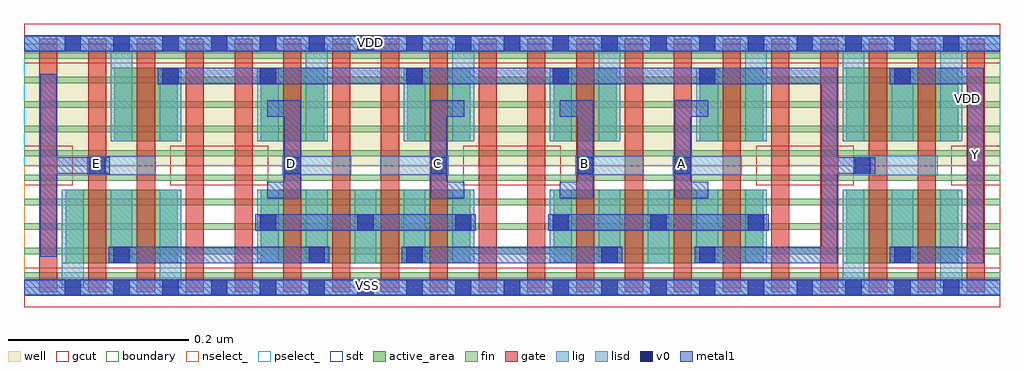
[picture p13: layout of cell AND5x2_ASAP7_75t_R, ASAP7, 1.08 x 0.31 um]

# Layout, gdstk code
import gdstk
lib = gdstk.Library(unit=1e-6, precision=2.5e-10)
def R(c, l, rs):  # rectangles x0, y0, x1, y1
    for r in rs: c.add(gdstk.rectangle(r[:2], r[2:], *l))
def A(c, l, x, y, w, h, nx, ny, dx, dy):  # array of equal rectangles
    R(c, l, [(x+i*dx, y+j*dy, x+i*dx+w, y+j*dy+h) for i in range(nx) for j in range(ny)])
def P(c, l, *ps):  # polygons
    for p in ps: c.add(gdstk.Polygon(p, *l))
well = (1, 0)
fin = (2, 0)
gate = (7, 0)
gcut = (10, 0)
active_area = (11, 0)
nselect_ = (12, 0)
pselect_ = (13, 0)
lig = (16, 0)
lisd = (17, 0)
v0 = (18, 0)
metal1 = (19, 0)
sdt = (88, 0)
boundary = (100, 0)

and5x2_asap7_75t_r = lib.new_cell('AND5x2_ASAP7_75t_R')
R(and5x2_asap7_75t_r, well, [(0,0.135,1.08,0.27)])
A(and5x2_asap7_75t_r, fin, 0, 0.01, 1.08, 0.007, 1, 10, 0, 0.027)
A(and5x2_asap7_75t_r, gate, 0.017, -0.005, 0.02, 0.28, 20, 1, 0.054, 0)
A(and5x2_asap7_75t_r, gcut, 0.162, 0.113, 0.108, 0.044, 3, 1, 0.324, 0)
R(and5x2_asap7_75t_r, gcut, [(0,-0.022,1.08,0.022), (0,0.113,0.054,0.157), (1.026,0.113,1.08,0.157), (0,0.248,1.08,0.292)])
A(and5x2_asap7_75t_r, active_area, 0.1, 0.162, 0.07, 0.081, 5, 1, 0.162, 0)
R(and5x2_asap7_75t_r, active_area, [(0.046,0.027,0.17,0.108), (0.262,0.027,0.494,0.108), (0.586,0.027,0.818,0.108), (0.91,0.027,1.034,0.108), (0.91,0.162,1.034,0.243)])
R(and5x2_asap7_75t_r, nselect_, [(0,0,1.08,0.135)])
R(and5x2_asap7_75t_r, pselect_, [(0,0.135,1.08,0.27)])
R(and5x2_asap7_75t_r, lig, [(0,-0.008,1.08,0.008), (0.918,0.124,1.011,0.146), (0.07,0.125,0.146,0.145), (0.286,0.125,0.362,0.145), (0.394,0.125,0.47,0.145), (0.61,0.125,0.686,0.145), (0.718,0.125,0.794,0.145), (0,0.262,1.08,0.278)])
A(and5x2_asap7_75t_r, lisd, 0.258, 0.027, 0.024, 0.081, 5, 1, 0.054, 0)
A(and5x2_asap7_75t_r, lisd, 0.582, 0.027, 0.024, 0.081, 5, 1, 0.054, 0)
A(and5x2_asap7_75t_r, lisd, 0.258, 0.162, 0.024, 0.081, 4, 1, 0.162, 0)
A(and5x2_asap7_75t_r, lisd, 0.312, 0.162, 0.024, 0.108, 4, 1, 0.162, 0)
R(and5x2_asap7_75t_r, lisd, [(0.042,0,0.066,0.108), (0.15,0,0.174,0.108), (0.906,0,0.93,0.108), (1.014,0,1.038,0.108), (0.096,0.027,0.12,0.108), (0.96,0.027,0.984,0.108), (0.096,0.162,0.12,0.27), (0.15,0.162,0.174,0.243), (0.906,0.162,0.93,0.27), (0.96,0.162,0.984,0.243), (1.014,0.162,1.038,0.27)])
A(and5x2_asap7_75t_r, v0, 0.045, -0.009, 0.018, 0.018, 19, 2, 0.054, 0.27)
A(and5x2_asap7_75t_r, v0, 0.261, 0.063, 0.018, 0.018, 6, 1, 0.108, 0)
A(and5x2_asap7_75t_r, v0, 0.288, 0.126, 0.018, 0.018, 3, 1, 0.162, 0)
A(and5x2_asap7_75t_r, v0, 0.261, 0.225, 0.018, 0.018, 4, 1, 0.162, 0)
R(and5x2_asap7_75t_r, v0, [(0.099,0.027,0.117,0.045), (0.315,0.027,0.333,0.045), (0.423,0.027,0.441,0.045), (0.639,0.027,0.657,0.045), (0.747,0.027,0.765,0.045), (0.963,0.027,0.981,0.045), (0.072,0.126,0.09,0.144), (0.72,0.126,0.738,0.144), (0.919,0.126,0.937,0.144), (0.153,0.225,0.171,0.243), (0.963,0.225,0.981,0.243)])
R(and5x2_asap7_75t_r, metal1, [(0,-0.009,1.08,0.009), (0.094,0.027,0.338,0.045), (0.418,0.027,0.662,0.045), (0.256,0.063,0.5,0.081), (0.58,0.063,0.824,0.081), (0,0.261,1.08,0.279)])
P(and5x2_asap7_75t_r, metal1, [(0.095,0.144),(0.036,0.144),(0.036,0.236),(0.018,0.236),(0.018,0.034),(0.036,0.034),(0.036,0.126),(0.095,0.126)],
  [(0.306,0.207),(0.269,0.207),(0.269,0.189),(0.288,0.189),(0.288,0.117),(0.269,0.117),(0.269,0.099),(0.306,0.099)],
  [(0.487,0.117),(0.468,0.117),(0.468,0.189),(0.487,0.189),(0.487,0.207),(0.45,0.207),(0.45,0.099),(0.487,0.099)],
  [(0.63,0.207),(0.593,0.207),(0.593,0.189),(0.612,0.189),(0.612,0.117),(0.593,0.117),(0.593,0.099),(0.63,0.099)],
  [(0.757,0.117),(0.738,0.117),(0.738,0.189),(0.757,0.189),(0.757,0.207),(0.72,0.207),(0.72,0.099),(0.757,0.099)],
  [(0.942,0.144),(0.9,0.144),(0.9,0.243),(0.148,0.243),(0.148,0.225),(0.882,0.225),(0.882,0.045),(0.742,0.045),(0.742,0.027),(0.9,0.027),(0.9,0.126),(0.942,0.126)],
  [(1.062,0.243),(0.958,0.243),(0.958,0.225),(1.044,0.225),(1.044,0.045),(0.958,0.045),(0.958,0.027),(1.062,0.027)])
A(and5x2_asap7_75t_r, sdt, 0.042, 0.027, 0.024, 0.081, 3, 1, 0.054, 0)
A(and5x2_asap7_75t_r, sdt, 0.258, 0.027, 0.024, 0.081, 5, 1, 0.054, 0)
A(and5x2_asap7_75t_r, sdt, 0.582, 0.027, 0.024, 0.081, 5, 1, 0.054, 0)
A(and5x2_asap7_75t_r, sdt, 0.906, 0.027, 0.024, 0.081, 3, 2, 0.054, 0.135)
R(and5x2_asap7_75t_r, sdt, [(0.096,0.162,0.12,0.243), (0.15,0.162,0.174,0.243), (0.258,0.162,0.282,0.243), (0.312,0.162,0.336,0.243), (0.42,0.162,0.444,0.243), (0.474,0.162,0.498,0.243), (0.582,0.162,0.606,0.243), (0.636,0.162,0.66,0.243), (0.744,0.162,0.768,0.243), (0.798,0.162,0.822,0.243)])
R(and5x2_asap7_75t_r, boundary, [(0,0,1.08,0.27)])
and5x2_asap7_75t_r.add(gdstk.Label('VSS', (1.113,0.208), layer=3, texttype=251))
and5x2_asap7_75t_r.add(gdstk.Label('VDD', (1.044,0.209), layer=1, texttype=251))
and5x2_asap7_75t_r.add(gdstk.Label('C', (0.458,0.137), layer=19, texttype=251))
and5x2_asap7_75t_r.add(gdstk.Label('D', (0.296,0.137), layer=19, texttype=251))
and5x2_asap7_75t_r.add(gdstk.Label('E', (0.08,0.137), layer=19, texttype=251))
and5x2_asap7_75t_r.add(gdstk.Label('VSS', (0.38,0.002), layer=19, texttype=251))
and5x2_asap7_75t_r.add(gdstk.Label('VDD', (0.383,0.271), layer=19, texttype=251))
and5x2_asap7_75t_r.add(gdstk.Label('A', (0.728,0.137), layer=19, texttype=251))
and5x2_asap7_75t_r.add(gdstk.Label('B', (0.62,0.137), layer=19, texttype=251))
and5x2_asap7_75t_r.add(gdstk.Label('Y', (1.053,0.1475), layer=19, texttype=251))

lib.write_gds('AND5x2_ASAP7_75t_R.gds')
